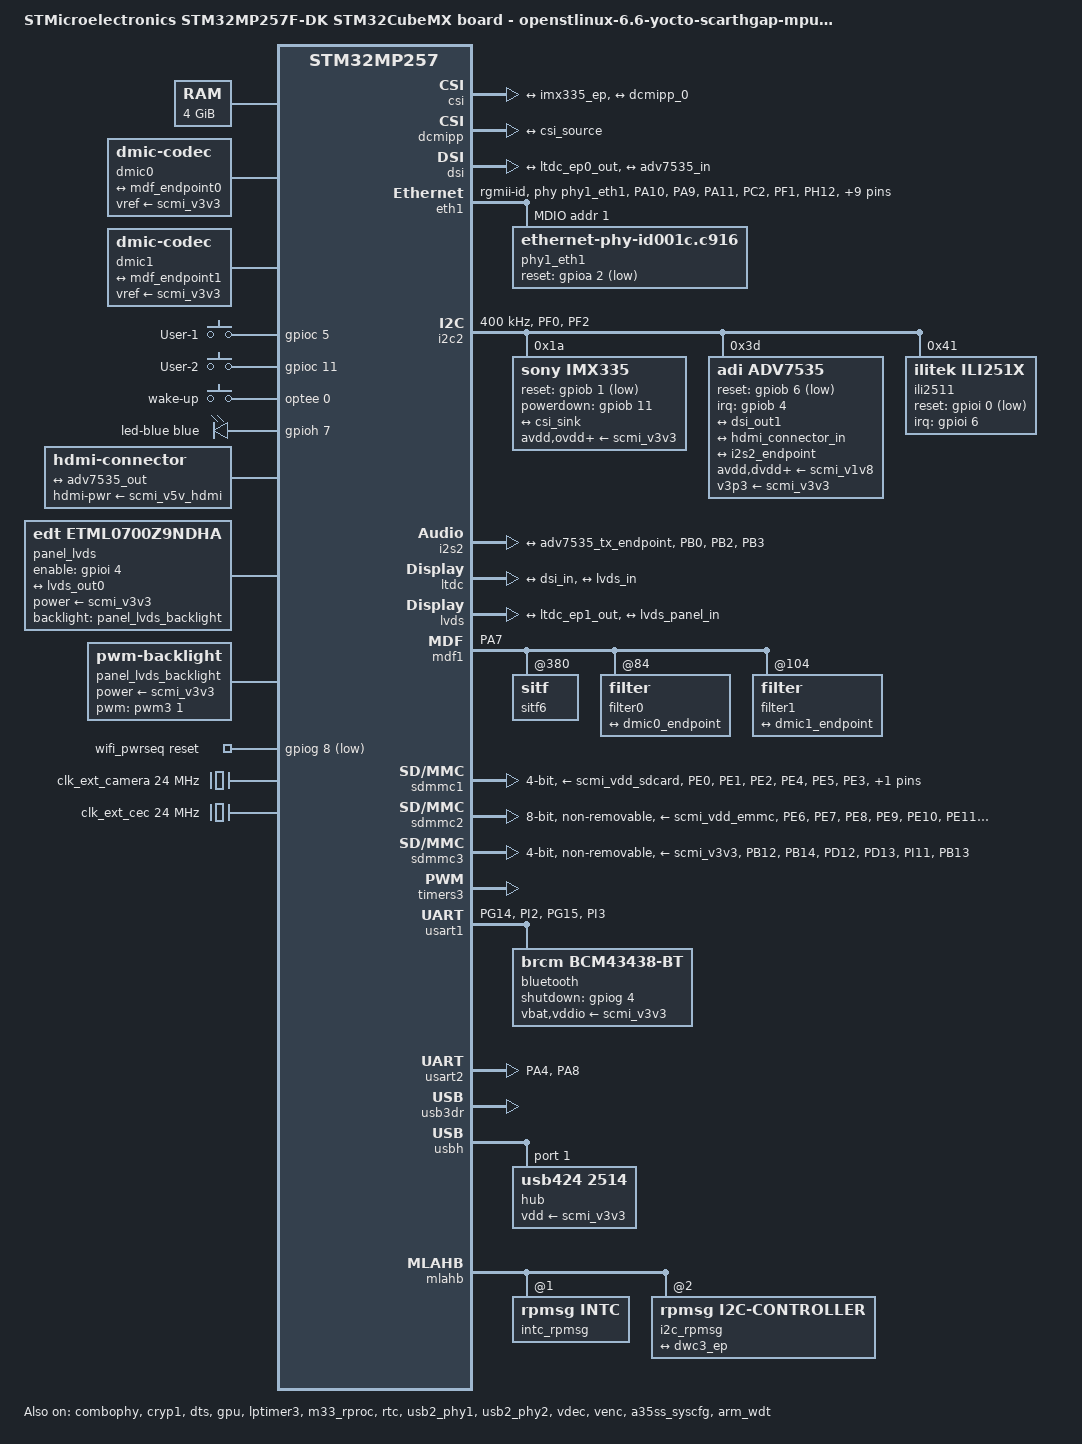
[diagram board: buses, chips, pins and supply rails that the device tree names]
// SPDX-License-Identifier: (GPL-2.0-only OR BSD-3-Clause)
/*
 * Copyright (C) 2025, STMicroelectronics - All Rights Reserved
 * Author: STM32CubeMX code generation for STMicroelectronics.
 */

/* For more information on Device Tree configuration, please refer to
 * https://wiki.st.com/stm32mpu/wiki/Category:Device_tree_configuration
 */

/dts-v1/;

#include <dt-bindings/pinctrl/stm32-pinfunc.h>
#include "stm32mp257.dtsi"
#include "stm32mp25xf.dtsi"
#include "stm32mp257f-dk-mx-resmem.dtsi"
#include "stm32mp25xxak-pinctrl.dtsi"

/* USER CODE BEGIN includes */
#include <dt-bindings/gpio/gpio.h>
#include <dt-bindings/input/input.h>
#include <dt-bindings/leds/common.h>
#include <dt-bindings/rtc/rtc-stm32.h>
#include "stm32mp25-pinctrl.dtsi"
/* USER CODE END includes */

/ {
	model = "STMicroelectronics STM32MP257F-DK STM32CubeMX board - openstlinux-6.6-yocto-scarthgap-mpu-v25.06.11";
	compatible = "st,stm32mp257f-dk-mx", "st,stm32mp257f-dk", "st,stm32mp257";

	memory@80000000 {
		device_type = "memory";
		reg = <0x0 0x80000000 0x00000001 0x00000000>;

		/* USER CODE BEGIN memory */
		/* USER CODE END memory */
	};

	/* USER CODE BEGIN root */

	aliases{
		serial0 = &usart2;
		serial1 = &usart6;
		serial2 = &usart1;
		ethernet0 = &eth1;
	};

	chosen{
		stdout-path = "serial0:115200n8";
		#address-cells = <2>;
		#size-cells = <2>;
		ranges;
	};

	dmic0:dmic-0{
		compatible = "dmic-codec";
		#sound-dai-cells = <1>;
		sound-name-prefix = "dmic0";
		vref-supply = <&scmi_v3v3>;
		status = "okay";

		port{

			dmic0_endpoint:endpoint{
				remote-endpoint = <&mdf_endpoint0>;
			};
		};
	};

	dmic1:dmic-1{
		compatible = "dmic-codec";
		#sound-dai-cells = <1>;
		sound-name-prefix = "dmic1";
		vref-supply = <&scmi_v3v3>;
		status = "okay";

		port{

			dmic1_endpoint:endpoint{
				remote-endpoint = <&mdf_endpoint1>;
			};
		};
	};

	gpio-keys{
		compatible = "gpio-keys";

		button-user-1{
			label = "User-1";
			linux,code = <BTN_1>;
			gpios = <&gpioc 5 GPIO_ACTIVE_HIGH>;
			status = "okay";
		};

		button-user-2{
			label = "User-2";
			linux,code = <BTN_2>;
			gpios = <&gpioc 11 GPIO_ACTIVE_HIGH>;
			status = "okay";
		};

		button-wake-up{
			label = "wake-up";
			linux,code = <KEY_WAKEUP>;
			interrupts-extended = <&optee 0>;
			wakeup-source;
			status = "okay";
		};
	};

	gpio-leds{
		compatible = "gpio-leds";

		led-blue{
			function = LED_FUNCTION_HEARTBEAT;
			color = <LED_COLOR_ID_BLUE>;
			gpios = <&gpioh 7 GPIO_ACTIVE_HIGH>;
			linux,default-trigger = "heartbeat";
			default-state = "off";
		};
	};

	hdmi:connector{
		compatible = "hdmi-connector";
		label = "hdmi";
		type = "a";
		hdmi-pwr-supply = <&scmi_v5v_hdmi>;

		port{

			hdmi_connector_in:endpoint{
				remote-endpoint = <&adv7535_out>;
			};
		};
	};

	panel_lvds:panel-lvds{
		compatible = "edt,etml0700z9ndha", "panel-lvds";
		enable-gpios = <&gpioi 4 GPIO_ACTIVE_HIGH>;
		backlight = <&panel_lvds_backlight>;
		power-supply = <&scmi_v3v3>;
		default-on;
		status = "okay";
		width-mm = <156>;
		height-mm = <92>;
		data-mapping = "vesa-24";

		panel-timing{
			clock-frequency = <54000000>;
			hactive = <1024>;
			vactive = <600>;
			hfront-porch = <150>;
			hback-porch = <150>;
			hsync-len = <21>;
			vfront-porch = <24>;
			vback-porch = <24>;
			vsync-len = <21>;
		};

		port{

			lvds_panel_in:endpoint{
				remote-endpoint = <&lvds_out0>;
			};
		};
	};

	panel_lvds_backlight:panel-lvds-backlight{
		compatible = "pwm-backlight";
		pwms = <&pwm3 1 1000000 0>;
		brightness-levels = <0 16 22 30 40 55 75 102 138 188 255>;
		default-brightness-level = <10>;
		power-supply = <&scmi_v3v3>;
		status = "okay";
	};

	sound{
		compatible = "audio-graph-card";
		label = "STM32MP25-DK";
		dais = <&i2s2_port &mdf1_port0 &mdf1_port1>;
		status = "okay";
	};

	wifi_pwrseq:wifi-pwrseq{
		compatible = "mmc-pwrseq-simple";
		reset-gpios = <&gpiog 8 GPIO_ACTIVE_LOW>;
	};
	/* USER CODE END root */

	clocks{

		/* USER CODE BEGIN clocks */

		clk_ext_camera:clk-ext-camera{
			#clock-cells = <0>;
			compatible = "fixed-clock";
			clock-frequency = <24000000>;
		};

		clk_ext_cec:clk-ext-cec{
			#clock-cells = <0>;
			compatible = "fixed-clock";
			clock-frequency = <24000000>;
		};
		/* USER CODE END clocks */
	};

}; /*root*/

&pinctrl {

	eth1_mdio_pins_mx: eth1_mdio_mx-0 {
		pins1 {
			pinmux = <STM32_PINMUX('A', 10, AF10)>; /* ETH1_MDIO */
			bias-disable;
			drive-push-pull;
			slew-rate = <0>;
			st,io-clk-edge = <0>;
			st,io-retime = <0>;
			st,io-delay-path = <0>;
			st,io-delay = <0>;
		};
		pins2 {
			pinmux = <STM32_PINMUX('A', 9, AF10)>; /* ETH1_MDC */
			bias-disable;
			drive-push-pull;
			slew-rate = <2>;
			st,io-clk-edge = <0>;
			st,io-retime = <0>;
			st,io-delay-path = <0>;
			st,io-delay = <0>;
		};
	};

	eth1_mdio_sleep_pins_mx: eth1_mdio_sleep_mx-0 {
		pins {
			pinmux = <STM32_PINMUX('A', 9, ANALOG)>, /* ETH1_MDC */
					 <STM32_PINMUX('A', 10, ANALOG)>; /* ETH1_MDIO */
		};
	};

	eth1_rgmii_pins_mx: eth1_rgmii_mx-0 {
		pins1 {
			pinmux = <STM32_PINMUX('A', 11, AF10)>, /* ETH1_RGMII_RX_CTL */
					 <STM32_PINMUX('C', 2, AF10)>, /* ETH1_RGMII_RXD1 */
					 <STM32_PINMUX('F', 1, AF10)>, /* ETH1_RGMII_RXD0 */
					 <STM32_PINMUX('H', 12, AF10)>, /* ETH1_RGMII_RXD2 */
					 <STM32_PINMUX('H', 13, AF10)>; /* ETH1_RGMII_RXD3 */
			bias-disable;
			drive-push-pull;
			st,io-clk-edge = <1>;
			st,io-retime = <1>;
			st,io-delay-path = <0>;
			st,io-delay = <0>;
		};
		pins2 {
			pinmux = <STM32_PINMUX('A', 13, AF10)>, /* ETH1_RGMII_TX_CTL */
					 <STM32_PINMUX('A', 15, AF10)>, /* ETH1_RGMII_TXD0 */
					 <STM32_PINMUX('C', 1, AF10)>, /* ETH1_RGMII_TXD1 */
					 <STM32_PINMUX('H', 10, AF10)>, /* ETH1_RGMII_TXD2 */
					 <STM32_PINMUX('H', 11, AF10)>; /* ETH1_RGMII_TXD3 */
			bias-disable;
			drive-push-pull;
			slew-rate = <3>;
			st,io-clk-edge = <1>;
			st,io-retime = <1>;
			st,io-delay-path = <0>;
			st,io-delay = <0>;
		};
		pins3 {
			pinmux = <STM32_PINMUX('A', 14, AF10)>; /* ETH1_RGMII_RX_CLK */
			bias-disable;
			drive-push-pull;
			slew-rate = <0>;
			st,io-clk-edge = <0>;
			st,io-retime = <0>;
			st,io-delay-path = <0>;
			st,io-delay = <0>;
		};
		pins4 {
			pinmux = <STM32_PINMUX('C', 0, AF12)>; /* ETH1_RGMII_GTX_CLK */
			bias-disable;
			drive-push-pull;
			slew-rate = <3>;
			st,io-clk-edge = <0>;
			st,io-retime = <0>;
			st,io-delay-path = <0>;
			st,io-delay = <0>;
		};
		pins5 {
			pinmux = <STM32_PINMUX('H', 9, AF10)>; /* ETH1_RGMII_CLK125 */
			bias-disable;
			drive-push-pull;
			slew-rate = <3>;
		};
	};

	eth1_rgmii_sleep_pins_mx: eth1_rgmii_sleep_mx-0 {
		pins {
			pinmux = <STM32_PINMUX('A', 11, ANALOG)>, /* ETH1_RGMII_RX_CTL */
					 <STM32_PINMUX('A', 13, ANALOG)>, /* ETH1_RGMII_TX_CTL */
					 <STM32_PINMUX('A', 14, ANALOG)>, /* ETH1_RGMII_RX_CLK */
					 <STM32_PINMUX('A', 15, ANALOG)>, /* ETH1_RGMII_TXD0 */
					 <STM32_PINMUX('C', 0, ANALOG)>, /* ETH1_RGMII_GTX_CLK */
					 <STM32_PINMUX('C', 1, ANALOG)>, /* ETH1_RGMII_TXD1 */
					 <STM32_PINMUX('C', 2, ANALOG)>, /* ETH1_RGMII_RXD1 */
					 <STM32_PINMUX('F', 1, ANALOG)>, /* ETH1_RGMII_RXD0 */
					 <STM32_PINMUX('H', 9, ANALOG)>, /* ETH1_RGMII_CLK125 */
					 <STM32_PINMUX('H', 10, ANALOG)>, /* ETH1_RGMII_TXD2 */
					 <STM32_PINMUX('H', 11, ANALOG)>, /* ETH1_RGMII_TXD3 */
					 <STM32_PINMUX('H', 12, ANALOG)>, /* ETH1_RGMII_RXD2 */
					 <STM32_PINMUX('H', 13, ANALOG)>; /* ETH1_RGMII_RXD3 */
		};
	};

	i2c2_pins_mx: i2c2_mx-0 {
		pins {
			pinmux = <STM32_PINMUX('F', 0, AF9)>, /* I2C2_SDA */
					 <STM32_PINMUX('F', 2, AF9)>; /* I2C2_SCL */
			bias-disable;
			drive-open-drain;
			slew-rate = <0>;
		};
	};

	i2c2_sleep_pins_mx: i2c2_sleep_mx-0 {
		pins {
			pinmux = <STM32_PINMUX('F', 0, ANALOG)>, /* I2C2_SDA */
					 <STM32_PINMUX('F', 2, ANALOG)>; /* I2C2_SCL */
		};
	};

	i2s2_pins_mx: i2s2_mx-0 {
		pins {
			pinmux = <STM32_PINMUX('B', 0, AF2)>, /* I2S2_CK */
					 <STM32_PINMUX('B', 2, AF2)>, /* I2S2_SDO */
					 <STM32_PINMUX('B', 3, AF2)>; /* I2S2_WS */
			bias-disable;
			drive-push-pull;
			slew-rate = <0>;
		};
	};

	i2s2_sleep_pins_mx: i2s2_sleep_mx-0 {
		pins {
			pinmux = <STM32_PINMUX('B', 0, ANALOG)>, /* I2S2_CK */
					 <STM32_PINMUX('B', 2, ANALOG)>, /* I2S2_SDO */
					 <STM32_PINMUX('B', 3, ANALOG)>; /* I2S2_WS */
		};
	};

	mdf1_pins_mx: mdf1_mx-0 {
		pins {
			pinmux = <STM32_PINMUX('A', 7, AF5)>; /* MDF1_CCK0 */
			bias-disable;
			drive-push-pull;
			slew-rate = <1>;
		};
	};

	mdf1_sleep_pins_mx: mdf1_sleep_mx-0 {
		pins {
			pinmux = <STM32_PINMUX('A', 7, ANALOG)>; /* MDF1_CCK0 */
		};
	};

	rtc_pins_mx: rtc_mx-0 {
		pins {
			pinmux = <STM32_PINMUX('I', 8, ANALOG)>; /* RTC_OUT2 */
			bias-disable;
			drive-push-pull;
			slew-rate = <0>;
		};
	};

	rtc_sleep_pins_mx: rtc_sleep_mx-0 {
		pins {
			pinmux = <STM32_PINMUX('I', 8, ANALOG)>; /* RTC_OUT2 */
		};
	};

	sdmmc1_pins_mx: sdmmc1_mx-0 {
		pins1 {
			pinmux = <STM32_PINMUX('E', 0, AF10)>, /* SDMMC1_D2 */
					 <STM32_PINMUX('E', 1, AF10)>, /* SDMMC1_D3 */
					 <STM32_PINMUX('E', 2, AF10)>, /* SDMMC1_CMD */
					 <STM32_PINMUX('E', 4, AF10)>, /* SDMMC1_D0 */
					 <STM32_PINMUX('E', 5, AF10)>; /* SDMMC1_D1 */
			bias-disable;
			drive-push-pull;
			slew-rate = <1>;
		};
		pins2 {
			pinmux = <STM32_PINMUX('E', 3, AF10)>; /* SDMMC1_CK */
			bias-disable;
			drive-push-pull;
			slew-rate = <2>;
		};
	};

	sdmmc1_opendrain_pins_mx: sdmmc1_opendrain_mx-0 {
		pins1 {
			pinmux = <STM32_PINMUX('E', 0, AF10)>, /* SDMMC1_D2 */
					 <STM32_PINMUX('E', 1, AF10)>, /* SDMMC1_D3 */
					 <STM32_PINMUX('E', 4, AF10)>, /* SDMMC1_D0 */
					 <STM32_PINMUX('E', 5, AF10)>; /* SDMMC1_D1 */
			bias-disable;
			drive-push-pull;
			slew-rate = <1>;
		};
		pins2 {
			pinmux = <STM32_PINMUX('E', 2, AF10)>; /* SDMMC1_CMD */
			bias-disable;
			drive-open-drain;
			slew-rate = <1>;
		};
		pins3 {
			pinmux = <STM32_PINMUX('E', 3, AF10)>; /* SDMMC1_CK */
			bias-disable;
			drive-push-pull;
			slew-rate = <2>;
		};
	};

	sdmmc1_sleep_pins_mx: sdmmc1_sleep_mx-0 {
		pins {
			pinmux = <STM32_PINMUX('E', 0, ANALOG)>, /* SDMMC1_D2 */
					 <STM32_PINMUX('E', 1, ANALOG)>, /* SDMMC1_D3 */
					 <STM32_PINMUX('E', 2, ANALOG)>, /* SDMMC1_CMD */
					 <STM32_PINMUX('E', 3, ANALOG)>, /* SDMMC1_CK */
					 <STM32_PINMUX('E', 4, ANALOG)>, /* SDMMC1_D0 */
					 <STM32_PINMUX('E', 5, ANALOG)>; /* SDMMC1_D1 */
		};
	};

	sdmmc2_pins_mx: sdmmc2_mx-0 {
		pins1 {
			pinmux = <STM32_PINMUX('E', 6, AF12)>, /* SDMMC2_D6 */
					 <STM32_PINMUX('E', 7, AF12)>, /* SDMMC2_D7 */
					 <STM32_PINMUX('E', 8, AF12)>, /* SDMMC2_D2 */
					 <STM32_PINMUX('E', 9, AF12)>, /* SDMMC2_D5 */
					 <STM32_PINMUX('E', 10, AF12)>, /* SDMMC2_D4 */
					 <STM32_PINMUX('E', 11, AF12)>, /* SDMMC2_D1 */
					 <STM32_PINMUX('E', 12, AF12)>, /* SDMMC2_D3 */
					 <STM32_PINMUX('E', 13, AF12)>, /* SDMMC2_D0 */
					 <STM32_PINMUX('E', 15, AF12)>; /* SDMMC2_CMD */
			bias-disable;
			drive-push-pull;
			slew-rate = <1>;
		};
		pins2 {
			pinmux = <STM32_PINMUX('E', 14, AF12)>; /* SDMMC2_CK */
			bias-disable;
			drive-push-pull;
			slew-rate = <3>;
		};
	};

	sdmmc2_opendrain_pins_mx: sdmmc2_opendrain_mx-0 {
		pins1 {
			pinmux = <STM32_PINMUX('E', 6, AF12)>, /* SDMMC2_D6 */
					 <STM32_PINMUX('E', 7, AF12)>, /* SDMMC2_D7 */
					 <STM32_PINMUX('E', 8, AF12)>, /* SDMMC2_D2 */
					 <STM32_PINMUX('E', 9, AF12)>, /* SDMMC2_D5 */
					 <STM32_PINMUX('E', 10, AF12)>, /* SDMMC2_D4 */
					 <STM32_PINMUX('E', 11, AF12)>, /* SDMMC2_D1 */
					 <STM32_PINMUX('E', 12, AF12)>, /* SDMMC2_D3 */
					 <STM32_PINMUX('E', 13, AF12)>; /* SDMMC2_D0 */
			bias-disable;
			drive-push-pull;
			slew-rate = <1>;
		};
		pins2 {
			pinmux = <STM32_PINMUX('E', 14, AF12)>; /* SDMMC2_CK */
			bias-disable;
			drive-push-pull;
			slew-rate = <3>;
		};
		pins3 {
			pinmux = <STM32_PINMUX('E', 15, AF12)>; /* SDMMC2_CMD */
			bias-disable;
			drive-open-drain;
			slew-rate = <1>;
		};
	};

	sdmmc2_sleep_pins_mx: sdmmc2_sleep_mx-0 {
		pins {
			pinmux = <STM32_PINMUX('E', 6, ANALOG)>, /* SDMMC2_D6 */
					 <STM32_PINMUX('E', 7, ANALOG)>, /* SDMMC2_D7 */
					 <STM32_PINMUX('E', 8, ANALOG)>, /* SDMMC2_D2 */
					 <STM32_PINMUX('E', 9, ANALOG)>, /* SDMMC2_D5 */
					 <STM32_PINMUX('E', 10, ANALOG)>, /* SDMMC2_D4 */
					 <STM32_PINMUX('E', 11, ANALOG)>, /* SDMMC2_D1 */
					 <STM32_PINMUX('E', 12, ANALOG)>, /* SDMMC2_D3 */
					 <STM32_PINMUX('E', 13, ANALOG)>, /* SDMMC2_D0 */
					 <STM32_PINMUX('E', 14, ANALOG)>, /* SDMMC2_CK */
					 <STM32_PINMUX('E', 15, ANALOG)>; /* SDMMC2_CMD */
		};
	};

	sdmmc3_pins_mx: sdmmc3_mx-0 {
		pins1 {
			pinmux = <STM32_PINMUX('B', 12, AF10)>, /* SDMMC3_D2 */
					 <STM32_PINMUX('B', 14, AF10)>, /* SDMMC3_D0 */
					 <STM32_PINMUX('D', 12, AF10)>, /* SDMMC3_CMD */
					 <STM32_PINMUX('D', 13, AF10)>, /* SDMMC3_D1 */
					 <STM32_PINMUX('I', 11, AF10)>; /* SDMMC3_D3 */
			bias-disable;
			drive-push-pull;
			slew-rate = <1>;
		};
		pins2 {
			pinmux = <STM32_PINMUX('B', 13, AF10)>; /* SDMMC3_CK */
			bias-disable;
			drive-push-pull;
			slew-rate = <3>;
		};
	};

	sdmmc3_opendrain_pins_mx: sdmmc3_opendrain_mx-0 {
		pins1 {
			pinmux = <STM32_PINMUX('B', 12, AF10)>, /* SDMMC3_D2 */
					 <STM32_PINMUX('B', 14, AF10)>, /* SDMMC3_D0 */
					 <STM32_PINMUX('D', 13, AF10)>, /* SDMMC3_D1 */
					 <STM32_PINMUX('I', 11, AF10)>; /* SDMMC3_D3 */
			bias-disable;
			drive-push-pull;
			slew-rate = <1>;
		};
		pins2 {
			pinmux = <STM32_PINMUX('B', 13, AF10)>; /* SDMMC3_CK */
			bias-disable;
			drive-push-pull;
			slew-rate = <3>;
		};
		pins3 {
			pinmux = <STM32_PINMUX('D', 12, AF10)>; /* SDMMC3_CMD */
			bias-disable;
			drive-open-drain;
			slew-rate = <1>;
		};
	};

	sdmmc3_sleep_pins_mx: sdmmc3_sleep_mx-0 {
		pins {
			pinmux = <STM32_PINMUX('B', 12, ANALOG)>, /* SDMMC3_D2 */
					 <STM32_PINMUX('B', 13, ANALOG)>, /* SDMMC3_CK */
					 <STM32_PINMUX('B', 14, ANALOG)>, /* SDMMC3_D0 */
					 <STM32_PINMUX('D', 12, ANALOG)>, /* SDMMC3_CMD */
					 <STM32_PINMUX('D', 13, ANALOG)>, /* SDMMC3_D1 */
					 <STM32_PINMUX('I', 11, ANALOG)>; /* SDMMC3_D3 */
		};
	};

	usart1_pins_mx: usart1_mx-0 {
		pins1 {
			pinmux = <STM32_PINMUX('G', 14, AF6)>, /* USART1_TX */
					 <STM32_PINMUX('I', 2, AF6)>; /* USART1_RTS */
			bias-disable;
			drive-push-pull;
			slew-rate = <0>;
		};
		pins2 {
			pinmux = <STM32_PINMUX('G', 15, AF6)>, /* USART1_RX */
					 <STM32_PINMUX('I', 3, AF6)>; /* USART1_CTS */
			bias-disable;
			drive-push-pull;
		};
	};

	usart1_idle_pins_mx: usart1_idle_mx-0 {
		pins1 {
			pinmux = <STM32_PINMUX('G', 14, ANALOG)>, /* USART1_TX */
					 <STM32_PINMUX('I', 3, ANALOG)>; /* USART1_CTS */
		};
		pins2 {
			pinmux = <STM32_PINMUX('G', 15, AF6)>; /* USART1_RX */
			bias-disable;
			drive-push-pull;
		};
		pins3 {
			pinmux = <STM32_PINMUX('I', 2, AF6)>; /* USART1_RTS */
			bias-disable;
			drive-push-pull;
			slew-rate = <0>;
		};
	};

	usart1_sleep_pins_mx: usart1_sleep_mx-0 {
		pins {
			pinmux = <STM32_PINMUX('G', 14, ANALOG)>, /* USART1_TX */
					 <STM32_PINMUX('G', 15, ANALOG)>, /* USART1_RX */
					 <STM32_PINMUX('I', 2, ANALOG)>, /* USART1_RTS */
					 <STM32_PINMUX('I', 3, ANALOG)>; /* USART1_CTS */
		};
	};

	usart2_pins_mx: usart2_mx-0 {
		pins1 {
			pinmux = <STM32_PINMUX('A', 4, AF6)>; /* USART2_TX */
			bias-disable;
			drive-push-pull;
			slew-rate = <0>;
		};
		pins2 {
			pinmux = <STM32_PINMUX('A', 8, AF8)>; /* USART2_RX */
			bias-disable;
			drive-push-pull;
		};
	};

	usart2_idle_pins_mx: usart2_idle_mx-0 {
		pins1 {
			pinmux = <STM32_PINMUX('A', 4, ANALOG)>; /* USART2_TX */
		};
		pins2 {
			pinmux = <STM32_PINMUX('A', 8, AF8)>; /* USART2_RX */
			bias-disable;
			drive-push-pull;
		};
	};

	usart2_sleep_pins_mx: usart2_sleep_mx-0 {
		pins {
			pinmux = <STM32_PINMUX('A', 4, ANALOG)>, /* USART2_TX */
					 <STM32_PINMUX('A', 8, ANALOG)>; /* USART2_RX */
		};
	};

	/* USER CODE BEGIN pinctrl */
	/* USER CODE END pinctrl */
};

&pinctrl_z {

	/* USER CODE BEGIN pinctrl_z */
	/* USER CODE END pinctrl_z */
};

&combophy {
	status = "okay";

	/* USER CODE BEGIN combophy */
	st,ssc-on;
	/* USER CODE END combophy */
};

&cryp1 {
	status = "okay";

	/* USER CODE BEGIN cryp1 */
	/* USER CODE END cryp1 */
};

&csi {
	status = "okay";

	/* USER CODE BEGIN csi */
	vdd-supply = <&scmi_vddcore>;
	vdda18-supply = <&scmi_v1v8>;

	ports{
		#address-cells = <1>;
		#size-cells = <0>;

		port@0{
			reg = <0>;

			csi_sink:endpoint{
				remote-endpoint = <&imx335_ep>;
				data-lanes = <1 2>;
				bus-type = <4>;
			};
		};

		port@1{
			reg = <1>;

			csi_source:endpoint{
				remote-endpoint = <&dcmipp_0>;
			};
		};
	};
	/* USER CODE END csi */
};

&dcmipp {
	status = "okay";

	/* USER CODE BEGIN dcmipp */

	port{

		dcmipp_0:endpoint{
			remote-endpoint = <&csi_source>;
			bus-type = <4>;
		};
	};
	/* USER CODE END dcmipp */
};

&dsi {
	status = "okay";

	/* USER CODE BEGIN dsi */
	vdd-supply = <&scmi_vddcore>;
	vdda18-supply = <&scmi_v1v8>;

	ports{
		#address-cells = <1>;
		#size-cells = <0>;

		port@0{
			reg = <0>;

			dsi_in:endpoint{
				remote-endpoint = <&ltdc_ep0_out>;
			};
		};

		port@1{
			reg = <1>;

			dsi_out1:endpoint{
				remote-endpoint = <&adv7535_in>;
			};
		};
	};
	/* USER CODE END dsi */
};

&dts {
	status = "okay";

	/* USER CODE BEGIN dts */
	/* USER CODE END dts */
};

&eth1 {
	pinctrl-names = "default", "sleep";
	pinctrl-0 = <&eth1_mdio_pins_mx>, <&eth1_rgmii_pins_mx>;
	pinctrl-1 = <&eth1_mdio_sleep_pins_mx>, <&eth1_rgmii_sleep_pins_mx>;
	status = "okay";

	/* USER CODE BEGIN eth1 */
	phy-mode = "rgmii-id";
	max-speed = <1000>;
	phy-handle = <&phy1_eth1>;
	st,eth-ptp-from-rcc;

	mdio1{
		#address-cells = <1>;
		#size-cells = <0>;
		compatible = "snps,dwmac-mdio";

		phy1_eth1:ethernet-phy@1{
			compatible = "ethernet-phy-id001c.c916";
			reset-gpios = <&gpioa 2 GPIO_ACTIVE_LOW>;
			reset-assert-us = <10000>;
			reset-deassert-us = <80000>;
			realtek,eee-disable;
			reg = <1>;
		};
	};
	/* USER CODE END eth1 */
};

&gpu {
	status = "okay";

	/* USER CODE BEGIN gpu */
	contiguous-area = <&gpu_reserved>;
	/* USER CODE END gpu */
};

&hpdma {
	status = "okay";

	/* USER CODE BEGIN hpdma */
	memory-region = <&hpdma1_lli>;
	/* USER CODE END hpdma */
};

&hpdma2 {
	status = "okay";

	/* USER CODE BEGIN hpdma2 */
	memory-region = <&hpdma2_lli>;
	/* USER CODE END hpdma2 */
};

&hpdma3 {
	status = "okay";

	/* USER CODE BEGIN hpdma3 */
	memory-region = <&hpdma3_lli>;
	/* USER CODE END hpdma3 */
};

&i2c2 {
	pinctrl-names = "default", "sleep";
	pinctrl-0 = <&i2c2_pins_mx>;
	pinctrl-1 = <&i2c2_sleep_pins_mx>;
	status = "okay";

	/* USER CODE BEGIN i2c2 */
	i2c-scl-rising-time-ns = <108>;
	i2c-scl-falling-time-ns = <12>;
	clock-frequency = <400000>;
	/delete-property/ dmas;
	/delete-property/ dma-names;

	imx335:camera@1a{
		compatible = "sony,imx335";
		reg = <0x1a>;
		clocks = <&clk_ext_camera>;
		avdd-supply = <&scmi_v3v3>;
		ovdd-supply = <&scmi_v3v3>;
		dvdd-supply = <&scmi_v3v3>;
		reset-gpios = <&gpiob 1 (GPIO_ACTIVE_LOW | GPIO_PUSH_PULL)>;
		powerdown-gpios = <&gpiob 11 (GPIO_ACTIVE_HIGH | GPIO_PUSH_PULL)>;
		status = "okay";

		port{

			imx335_ep:endpoint{
				remote-endpoint = <&csi_sink>;
				clock-lanes = <0>;
				data-lanes = <1 2>;
				link-frequencies = /bits/ 64 <594000000>;
			};
		};
	};

	adv7535:hdmi@3d{
		compatible = "adi,adv7535";
		reg = <0x3d>, <0x3c>, <0x3f>, <0x38>;
		reg-names = "main", "cec", "edid", "packet";
		status = "okay";
		adi,dsi-lanes = <4>;
		clocks = <&clk_ext_cec>;
		clock-names = "cec";
		interrupt-parent = <&gpiob>;
		interrupts = <4 IRQ_TYPE_EDGE_FALLING>;
		reset-gpios = <&gpiob 6 GPIO_ACTIVE_LOW>;
		avdd-supply = <&scmi_v1v8>;
		dvdd-supply = <&scmi_v1v8>;
		pvdd-supply = <&scmi_v1v8>;
		a2vdd-supply = <&scmi_v1v8>;
		v3p3-supply = <&scmi_v3v3>;
		v1p2-supply = <&scmi_v1v8>;

		ports{
			#address-cells = <1>;
			#size-cells = <0>;

			port@0{
				reg = <0>;

				adv7535_in:endpoint{
					remote-endpoint = <&dsi_out1>;
				};
			};

			port@1{
				reg = <1>;

				adv7535_out:endpoint{
					remote-endpoint = <&hdmi_connector_in>;
				};
			};

			port@2{
				reg = <2>;

				adv7535_tx_endpoint:endpoint{
					remote-endpoint = <&i2s2_endpoint>;
				};
			};
		};
	};

	ili2511:ili2511@41{
		compatible = "ilitek,ili251x";
		reg = <0x41>;
		interrupt-parent = <&gpioi>;
		interrupts = <6 IRQ_TYPE_EDGE_FALLING>;
		reset-gpios = <&gpioi 0 GPIO_ACTIVE_LOW>;
		status = "okay";
	};
	/* USER CODE END i2c2 */
};

&i2s2 {
	pinctrl-names = "default", "sleep";
	pinctrl-0 = <&i2s2_pins_mx>;
	pinctrl-1 = <&i2s2_sleep_pins_mx>;
	status = "okay";

	/* USER CODE BEGIN i2s2 */

	i2s2_port:port{

		i2s2_endpoint:endpoint{
			remote-endpoint = <&adv7535_tx_endpoint>;
			format = "i2s";
			mclk-fs = <256>;
		};
	};
	/* USER CODE END i2s2 */
};

&ipcc1 {
	status = "okay";

	/* USER CODE BEGIN ipcc1 */
	/* USER CODE END ipcc1 */
};

&lptimer3 {
	status = "okay";

	/* USER CODE BEGIN lptimer3 */
	clocks = <&rcc CK_LPTIM3_AM>;

	timer{
		status = "okay";
	};
	/* USER CODE END lptimer3 */
};

&ltdc {
	status = "okay";

	/* USER CODE BEGIN ltdc */
	default-on;

	port{
		#address-cells = <1>;
		#size-cells = <0>;

		ltdc_ep0_out:endpoint@0{
			reg = <0>;
			remote-endpoint = <&dsi_in>;
		};

		ltdc_ep1_out:endpoint@1{
			reg = <1>;
			remote-endpoint = <&lvds_in>;
		};
	};
	/* USER CODE END ltdc */
};

&lvds {
	status = "okay";

	/* USER CODE BEGIN lvds */
	default-on;
	vdd-supply = <&scmi_vddcore>;
	vdda18-supply = <&scmi_v1v8>;

	ports{
		#address-cells = <1>;
		#size-cells = <0>;

		port@0{
			reg = <0>;

			lvds_in:endpoint{
				remote-endpoint = <&ltdc_ep1_out>;
			};
		};

		port@1{
			reg = <1>;

			lvds_out0:endpoint{
				remote-endpoint = <&lvds_panel_in>;
			};
		};
	};
	/* USER CODE END lvds */
};

&m33_rproc {
	status = "okay";

	/*Restriction: "memory-region" property is not managed - please to use User-Section if needed*/
	mboxes = <&ipcc1 0x100>, <&ipcc1 0x101>, <&ipcc1 2>;
	mbox-names = "vq0", "vq1", "shutdown";

	/* USER CODE BEGIN m33_rproc */
	memory-region = <&cm33_cube_fw>, <&cm33_cube_data>,
			<&ipc_shmem_1>, <&vdev0vring0>,
			<&vdev0vring1>, <&vdev0buffer>,
			<&cm33_sram2>;
	st,syscfg-nsvtor = <&a35ss_syscfg 0xa8 0xffffff80>;
	/* USER CODE END m33_rproc */
};

&mdf1 {
	pinctrl-names = "default", "sleep";
	pinctrl-0 = <&mdf1_pins_mx>;
	pinctrl-1 = <&mdf1_sleep_pins_mx>;
	status = "okay";

	/* USER CODE BEGIN mdf1 */
	#clock-cells = <1>;
	clock-output-names = "cck0";
	clock-frequency = <1536000>;

	sitf6:sitf@380{
		pinctrl-names = "default", "sleep";
		pinctrl-0 = <&mdf_sdi6_pins_a>;
		pinctrl-1 = <&mdf_sdi6_sleep_pins_a>;
		st,sitf-mode = "spi";
		clocks = <&mdf1 0>;
		status = "okay";
	};

	filter0:filter@84{
		#address-cells = <1>;
		#size-cells = <0>;
		st,cic-mode = <4>;
		st,sitf = <&sitf6 0>;
		st,hpf-filter-cutoff-bp = <625>;
		status = "okay";

		channel@0{
			reg = <0>;
			label = "dmic_u53";
		};

		asoc_pdm0:mdf-dai{
			compatible = "st,stm32mp25-mdf-dai";
			#sound-dai-cells = <0>;
			io-channels = <&filter0 0>;
			power-domains = <&d1_pd>;
			status = "okay";

			mdf1_port0:port{

				mdf_endpoint0:endpoint{
					remote-endpoint = <&dmic0_endpoint>;
				};
			};
		};
	};

	filter1:filter@104{
		#address-cells = <1>;
		#size-cells = <0>;
		st,cic-mode = <4>;
		st,sitf = <&sitf6 1>;
		st,hpf-filter-cutoff-bp = <625>;
		status = "okay";

		channel@1{
			reg = <1>;
			label = "dmic_u12";
		};

		asoc_pdm1:mdf-dai{
			compatible = "st,stm32mp25-mdf-dai";
			#sound-dai-cells = <0>;
			io-channels = <&filter1 0>;
			power-domains = <&d1_pd>;
			status = "okay";

			mdf1_port1:port{

				mdf_endpoint1:endpoint{
					remote-endpoint = <&dmic1_endpoint>;
				};
			};
		};
	};
	/* USER CODE END mdf1 */
};

&rtc {
	pinctrl-names = "default", "sleep";
	pinctrl-0 = <&rtc_pins_mx>;
	pinctrl-1 = <&rtc_sleep_pins_mx>;
	status = "okay";

	/* USER CODE BEGIN rtc */
	st,lsco = <RTC_OUT2_RMP>;
	/* USER CODE END rtc */
};

&sdmmc1 {
	pinctrl-names = "default", "opendrain", "sleep";
	pinctrl-0 = <&sdmmc1_pins_mx>;
	pinctrl-1 = <&sdmmc1_opendrain_pins_mx>;
	pinctrl-2 = <&sdmmc1_sleep_pins_mx>;
	status = "okay";

	/* USER CODE BEGIN sdmmc1 */
	cd-gpios = <&gpiod 3 (GPIO_ACTIVE_LOW | GPIO_PULL_UP)>;
	disable-wp;
	st,neg-edge;
	bus-width = <4>;
	vmmc-supply = <&scmi_vdd_sdcard>;
	vqmmc-supply = <&scmi_vddio1>;
	sd-uhs-sdr12;
	sd-uhs-sdr25;
	sd-uhs-sdr50;
	sd-uhs-ddr50;
	sd-uhs-sdr104;
	/* USER CODE END sdmmc1 */
};

&sdmmc2 {
	pinctrl-names = "default", "opendrain", "sleep";
	pinctrl-0 = <&sdmmc2_pins_mx>;
	pinctrl-1 = <&sdmmc2_opendrain_pins_mx>;
	pinctrl-2 = <&sdmmc2_sleep_pins_mx>;
	status = "okay";

	/* USER CODE BEGIN sdmmc2 */
	non-removable;
	no-sd;
	no-sdio;
	st,neg-edge;
	bus-width = <8>;
	vmmc-supply = <&scmi_vdd_emmc>;
	vqmmc-supply = <&scmi_vddio2>;
	mmc-ddr-1_8v;
	mmc-hs200-1_8v;
	/* USER CODE END sdmmc2 */
};

&sdmmc3 {
	pinctrl-names = "default", "opendrain", "sleep";
	pinctrl-0 = <&sdmmc3_pins_mx>;
	pinctrl-1 = <&sdmmc3_opendrain_pins_mx>;
	pinctrl-2 = <&sdmmc3_sleep_pins_mx>;
	status = "okay";

	/* USER CODE BEGIN sdmmc3 */
	non-removable;
	st,neg-edge;
	bus-width = <4>;
	vmmc-supply = <&scmi_v3v3>;
	mmc-pwrseq = <&wifi_pwrseq>;
	cap-sdio-irq;
	#address-cells = <1>;
	#size-cells = <0>;
	/* USER CODE END sdmmc3 */
};

&timers3 {
	status = "okay";

	/* USER CODE BEGIN timers3 */

	pwm3:pwm{
		pinctrl-0 = <&pwm3_ch2_pins_a>;
		pinctrl-1 = <&pwm3_ch2_sleep_pins_a>;
		pinctrl-names = "default", "sleep";
		status = "okay";
	};
	/* USER CODE END timers3 */
};

&usart1 {
	pinctrl-names = "default", "idle", "sleep";
	pinctrl-0 = <&usart1_pins_mx>;
	pinctrl-1 = <&usart1_idle_pins_mx>;
	pinctrl-2 = <&usart1_sleep_pins_mx>;
	status = "okay";

	/* USER CODE BEGIN usart1 */
	uart-has-rtscts;

	bluetooth{
		shutdown-gpios = <&gpiog 4 GPIO_ACTIVE_HIGH>;
		compatible = "brcm,bcm43438-bt";
		max-speed = <2000000>;
		vbat-supply = <&scmi_v3v3>;
		vddio-supply = <&scmi_v3v3>;
	};
	/* USER CODE END usart1 */
};

&usart2 {
	pinctrl-names = "default", "idle", "sleep";
	pinctrl-0 = <&usart2_pins_mx>;
	pinctrl-1 = <&usart2_idle_pins_mx>;
	pinctrl-2 = <&usart2_sleep_pins_mx>;
	status = "okay";

	/* USER CODE BEGIN usart2 */
	/delete-property/ dmas;
	/delete-property/ dma-names;
	/* USER CODE END usart2 */
};

&usb2_phy1 {
	status = "okay";

	/* USER CODE BEGIN usb2_phy1 */
	vdd33-supply = <&scmi_vdd3v3_usb>;
	/* USER CODE END usb2_phy1 */
};

&usb2_phy2 {
	status = "okay";

	/* USER CODE BEGIN usb2_phy2 */
	vdd33-supply = <&scmi_vdd3v3_usb>;
	/* USER CODE END usb2_phy2 */
};

&usb3dr {
	status = "okay";

	/* USER CODE BEGIN usb3dr */

	dwc3:usb@48300000{
		phys = <&usb2_phy2>, <&combophy PHY_TYPE_USB3>;
		phy-names = "usb2-phy", "usb3-phy";
		usb-role-switch;

		port{

			dwc3_ep:endpoint{
				remote-endpoint = <&typec_ep>;
			};
		};
	};
	/* USER CODE END usb3dr */
};

&usbh {
	status = "okay";

	/* USER CODE BEGIN usbh */

	usbh_ehci:usb@482f0000{
		#address-cells = <1>;
		#size-cells = <0>;

		hub@1{
			compatible = "usb424,2514";
			reg = <1>;
			vdd-supply = <&scmi_v3v3>;
		};
	};
	/* USER CODE END usbh */
};

&vdec {
	status = "okay";

	/* USER CODE BEGIN vdec */
	/* USER CODE END vdec */
};

&venc {
	status = "okay";

	/* USER CODE BEGIN venc */
	/* USER CODE END venc */
};

/* USER CODE BEGIN addons */

&a35ss_syscfg {
	status = "okay";
};

&arm_wdt {
	timeout-sec = <32>;
	status = "okay";
};

&ipcc2 {
	status = "okay";
};

&mlahb {

	intc_rpmsg:interrupt-controller@1{
		compatible = "rpmsg,intc";
		reg = <1 0>;
		#interrupt-cells = <1>;
		interrupt-controller;
	};

	i2c_rpmsg:i2c@2{
		compatible = "rpmsg,i2c-controller";
		reg = <2 0>;
		rpmsg,dev-id = "rpmsg_i2c";
		#address-cells = <1>;
		#size-cells = <0>;
		status = "okay";

		typec@35{
			compatible = "st,stm32mp25-typec";
			reg = <0x35>;
			interrupts-extended = <&intc_rpmsg 0>;
			status = "okay";

			connector{
				compatible = "usb-c-connector";
				label = "USB-C";

				port{

					typec_ep:endpoint{
						remote-endpoint = <&dwc3_ep>;
					};
				};
			};
		};
	};
};

&scmi_regu {
	scmi_vddio1: regulator@0 {
		regulator-min-microvolt = <1800000>;
		regulator-max-microvolt = <3300000>;
	};
	scmi_vddcore: regulator@b {
		reg = <VOLTD_SCMI_STPMIC2_BUCK2>;
		regulator-name = "vddcore";
	};
	scmi_v1v8: regulator@e {
		reg = <VOLTD_SCMI_STPMIC2_BUCK5>;
		regulator-name = "v1v8";
	};
	scmi_v3v3: regulator@10 {
		reg = <VOLTD_SCMI_STPMIC2_BUCK7>;
		regulator-name = "v3v3";
	};
	scmi_vdd_emmc: regulator@12 {
		reg = <VOLTD_SCMI_STPMIC2_LDO2>;
		regulator-name = "vdd_emmc";
	};
	scmi_vdd3v3_usb: regulator@14 {
		reg = <VOLTD_SCMI_STPMIC2_LDO4>;
		regulator-name = "vdd3v3_usb";
	};
	scmi_v5v_hdmi: regulator@15 {
		reg = <VOLTD_SCMI_STPMIC2_LDO5>;
		regulator-name = "v5v_hdmi";
	};
	scmi_v5v_vconn: regulator@16 {
		reg = <VOLTD_SCMI_STPMIC2_LDO6>;
		regulator-name = "v5v_vconn";
	};
	scmi_vdd_sdcard: regulator@17 {
		reg = <VOLTD_SCMI_STPMIC2_LDO7>;
		regulator-name = "vdd_sdcard";
	};
};
/* USER CODE END addons */

